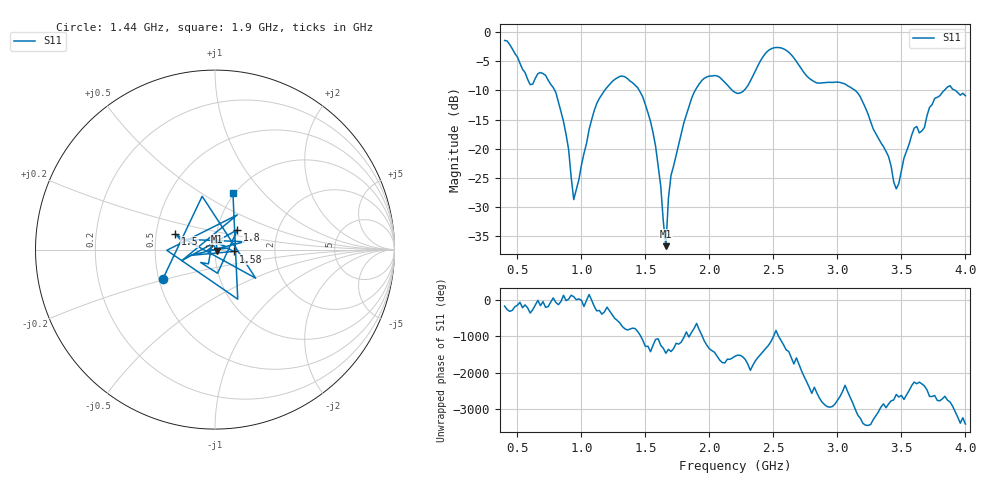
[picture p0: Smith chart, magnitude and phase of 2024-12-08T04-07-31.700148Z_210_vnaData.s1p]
!Created with skrf (http://scikit-rf.org).
# Hz S RI R 50.0
!freq ReS11 ImS11
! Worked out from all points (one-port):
!   181 points, 400 MHz to 4 GHz, reference 50 ohm
!   lowest |S11| = -36.8 dB at 1.66 GHz (marker M1), VSWR 1.03, Z = 51.3 - j0.725 ohm
!   |S11| at or under -10 dB: 792 MHz to 1.181 GHz (389.1 MHz wide, 39.4 % of centre); 1.452 GHz to 1.889 GHz (436.6 MHz wide, 26.1 % of centre); 3.14 GHz to 3.834 GHz (694.5 MHz wide, 19.9 % of centre) (the widest 3 of 5)
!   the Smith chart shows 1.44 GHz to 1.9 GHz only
!   S11 on the Smith chart (normalised r, x): 1.44 GHz: 0.52, -0.19; 1.5 GHz: 0.63, +0.12; 1.58 GHz: 1.23, -0.03; 1.8 GHz: 1.25, +0.28; 1.9 GHz: 0.98, +0.70
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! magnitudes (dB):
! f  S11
! 400 MHz  -1.4
! 600 MHz  -9.0
! 720 MHz  -7.4
! 860 MHz  -15.3
! 900 MHz  -20.1
! 940 MHz  -28.8
! 1.12 GHz  -12.2
! 1.3 GHz  -7.6
! 1.44 GHz  -9.5
! 1.5 GHz  -12.5
! 1.58 GHz  -19.7
! 1.66 GHz  -36.8
! 1.68 GHz  -28.5
! 1.7 GHz  -24.6
! 1.76 GHz  -19.4
! 1.8 GHz  -15.6
! 1.9 GHz  -9.6
! 2.04 GHz  -7.4
! 2.2 GHz  -10.3
! 2.48 GHz  -2.9
! 2.66 GHz  -4.4
! 2.82 GHz  -8.5
! 3.1 GHz  -9.4
! 3.4 GHz  -21.4
! 3.46 GHz  -26.9
! 3.56 GHz  -19.3
! 3.86 GHz  -9.4
! 4 GHz  -10.9
